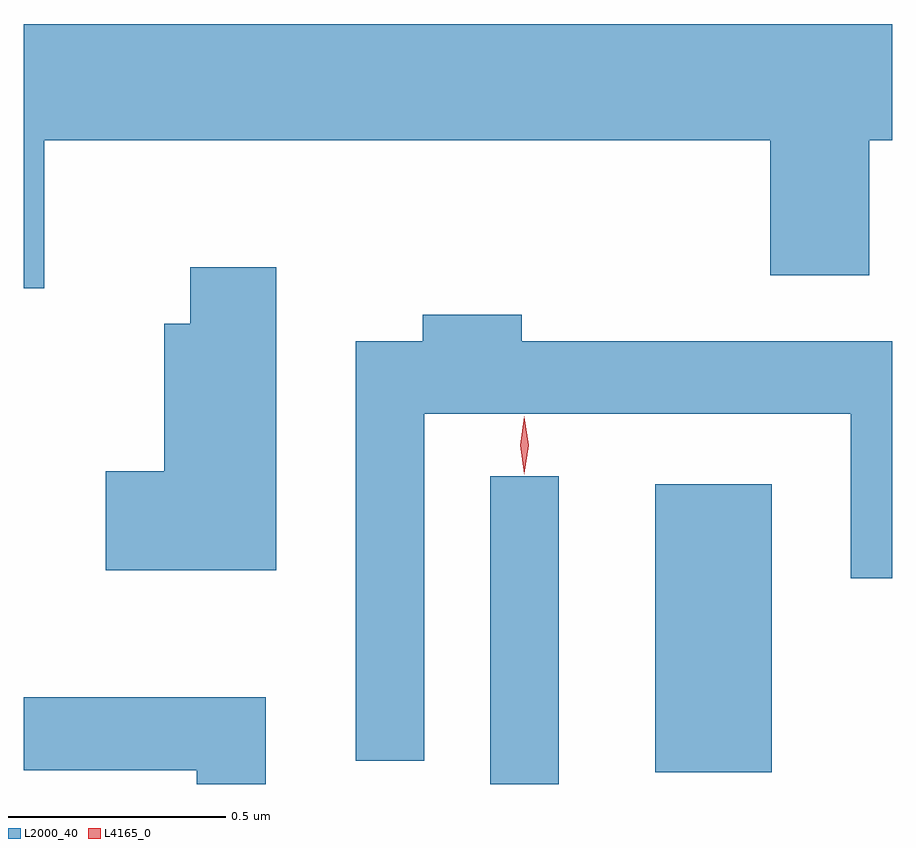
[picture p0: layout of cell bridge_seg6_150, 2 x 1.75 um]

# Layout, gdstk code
import gdstk
lib = gdstk.Library(unit=1e-6, precision=1e-09)
def R(c, l, rs):  # rectangles x0, y0, x1, y1
    for r in rs: c.add(gdstk.rectangle(r[:2], r[2:], *l))
def P(c, l, *ps):  # polygons
    for p in ps: c.add(gdstk.Polygon(p, *l))
L2000_40 = (2000, 40)
L4165_0 = (4165, 0)

bridge_seg6_150 = lib.new_cell('bridge_seg6_150')
R(bridge_seg6_150, L2000_40, [(1049.226,1599.614,1049.384,1600.323), (1049.606,1599.641,1049.874,1600.304)])
P(bridge_seg6_150, L2000_40, [(1048.199,1601.096),(1049.871,1601.096),(1049.871,1600.786),(1050.099,1600.786),(1050.099,1601.096),(1050.152,1601.096),(1050.152,1601.364),(1048.152,1601.364),(1048.152,1600.756),(1048.199,1600.756)],
  [(1048.734,1600.804),(1048.536,1600.804),(1048.536,1600.674),(1048.476,1600.674),(1048.476,1600.334),(1048.341,1600.334),(1048.341,1600.106),(1048.734,1600.106)],
  [(1049.074,1600.466),(1050.056,1600.466),(1050.056,1600.088),(1050.152,1600.088),(1050.152,1600.634),(1049.299,1600.634),(1049.299,1600.694),(1049.071,1600.694),(1049.071,1600.634),(1048.916,1600.634),(1048.916,1599.668),(1049.074,1599.668)],
  [(1048.709,1599.814),(1048.152,1599.814),(1048.152,1599.646),(1048.551,1599.646),(1048.551,1599.614),(1048.709,1599.614)])
P(bridge_seg6_150, L4165_0, [(1049.305,1600.327),(1049.304,1600.328),(1049.295,1600.394),(1049.304,1600.46),(1049.305,1600.461),(1049.305,1600.46),(1049.315,1600.394),(1049.305,1600.328)])

lib.write_gds('bridge_seg6_150.gds')
